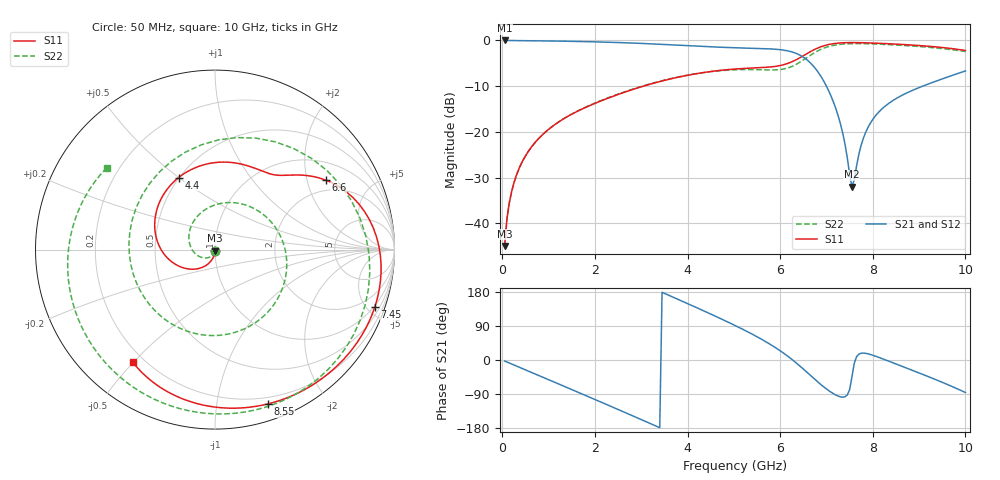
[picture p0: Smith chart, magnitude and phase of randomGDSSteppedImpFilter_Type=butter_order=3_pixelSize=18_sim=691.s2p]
! freq	dB(S11)	phase(S11)	dB(S12)	phase(S12)
!  dB(S21)	phase(S21)	dB(S22)	phase(S22)
!S-par simulation data
#  GHz  S  DB  R 50
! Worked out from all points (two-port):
!   200 points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, 50 MHz to 10 GHz, reference 50 ohm
!   highest |S21| = -0.01 dB at 50 MHz (marker M1); lowest = -32.0 dB at 7.55 GHz (marker M2)
!   |S21| within 3 dB of the highest: start of sweep to 6.384 GHz
!   lowest |S11| = -45.0 dB at 50 MHz (marker M3), VSWR 1.01, Z = 50 - j0.565 ohm
!   |S11| at or under -10 dB: start of sweep to 3.046 GHz
!   |S22| runs from -45.0 to -0.7 dB; largest |S21 - S12| = 0
!   S11 on the Smith chart (normalised r, x): 50 MHz: 1.00, -0.01; 4.4 GHz: 0.50, +0.50; 6.6 GHz: 1.58, +2.61; 7.45 GHz: 0.91, -5.58; 8.55 GHz: 0.14, -1.39; 10 GHz: 0.16, -0.50
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0.05  -44.96 -88.7  -0.01 -2.6  -0.01 -2.6  -44.99 -91.0
0.2  -33.10 -95.7  -0.02 -10.5  -0.02 -10.5  -33.14 -104.3
0.5  -25.25 -105.8  -0.05 -26.0  -0.05 -26.0  -25.28 -127.2
1.15  -18.29 -125.6  -0.14 -59.8  -0.14 -59.8  -18.28 -175.7
1.75  -14.87 -143.2  -0.25 -91.0  -0.25 -91.0  -14.82 139.1
2.65  -11.29 -171.1  -0.51 -138.5  -0.51 -138.5  -11.21 72.4
3.4  -9.00 160.8  -0.84 -178.6  -0.84 -178.6  -8.93 20.6
4.4  -6.94 116.8  -1.35 126.9  -1.35 126.9  -6.95 -43.5
5.05  -6.23 86.7  -1.61 89.7  -1.61 89.7  -6.41 -87.2
5.6  -5.94 63.9  -1.77 54.7  -1.77 54.7  -6.43 -134.3
6.05  -5.38 50.4  -2.09 20.2  -2.09 20.2  -6.29 168.2
6.3  -4.46 43.9  -2.66 -2.9  -2.66 -2.9  -5.48 125.4
6.6  -2.76 32.2  -4.42 -34.7  -4.42 -34.7  -3.59 69.8
6.7  -2.20 26.7  -5.41 -45.7  -5.41 -45.7  -2.93 52.0
7.05  -0.89 4.5  -11.06 -80.9  -11.06 -80.9  -1.32 -1.7
7.45  -0.48 -19.8  -25.67 -92.2  -25.67 -92.2  -0.74 -46.5
7.55  -0.47 -25.3  -31.97 -45.0  -31.97 -45.0  -0.71 -55.5
7.85  -0.52 -40.5  -20.02 17.5  -20.02 17.5  -0.72 -79.2
8.35  -0.73 -62.9  -13.72 -3.3  -13.72 -3.3  -0.92 -111.9
8.55  -0.83 -71.2  -12.44 -12.7  -12.44 -12.7  -1.03 -123.9
9.3  -1.35 -100.2  -9.14 -48.8  -9.14 -48.8  -1.58 -168.6
10  -2.20 -126.3  -6.67 -85.8  -6.67 -85.8  -2.43 143.0
